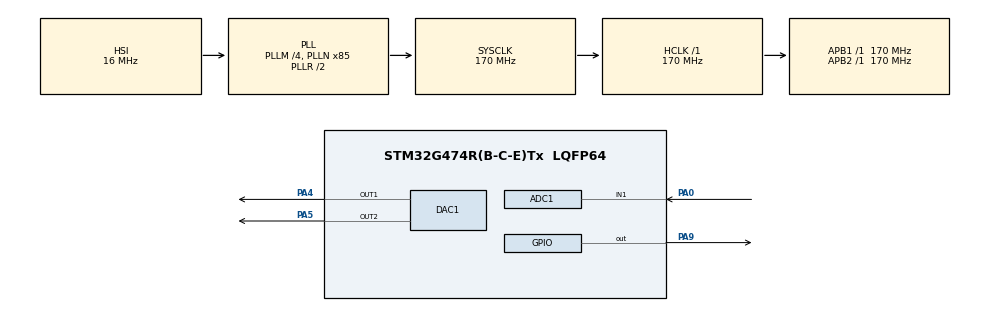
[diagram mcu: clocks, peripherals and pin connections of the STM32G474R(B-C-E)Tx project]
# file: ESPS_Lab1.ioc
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ADC1.Channel-0\#ChannelRegularConversion=ADC_CHANNEL_1
ADC1.ExternalTrigConv=ADC_EXTERNALTRIG_T6_TRGO
ADC1.NbrOfConversion=1
ADC1.NbrOfConversionFlag=1
ADC1.OffsetNumber-0\#ChannelRegularConversion=ADC_OFFSET_NONE
ADC1.Rank-0\#ChannelRegularConversion=1
ADC1.SamplingTime-0\#ChannelRegularConversion=ADC_SAMPLETIME_2CYCLES_5
ADC1.master=1
DAC1.DAC_Channel-DAC_OUT2=DAC_CHANNEL_2
Mcu.Family=STM32G4
Mcu.Name=STM32G474R(B-C-E)Tx
Mcu.Package=LQFP64
NVIC.ADC1_2_IRQn=true\:0\:0\:false\:false\:true\:true\:true\:true
NVIC.PriorityGroup=NVIC_PRIORITYGROUP_4
PA0.Mode=IN1-Single-Ended
PA0.Signal=ADC1_IN1
PA13.GPIO_Label=T_SWDIO
PA13.Signal=SYS_JTMS-SWDIO
PA14.GPIO_Label=T_SWCLK
PA14.Signal=SYS_JTCK-SWCLK
PA2.GPIO_Label=LPUART1_TX [STLINKV3E_VCP_RX]
PA2.Signal=LPUART1_TX
PA3.GPIO_Label=LPUART1_RX [STLINKV3E_VCP_TX]
PA3.Signal=LPUART1_RX
PA4.Signal=COMP_DAC11_group
PA5.Signal=COMP_DAC12_group
PA9.Signal=GPIO_Output
PB3.GPIO_Label=T_SWO
PB3.Signal=SYS_JTDO-SWO
PC14-OSC32_IN.GPIO_Label=RCC_OSC32_IN
PC14-OSC32_IN.Signal=RCC_OSC32_IN
PC15-OSC32_OUT.GPIO_Label=RCC_OSC32_OUT
PC15-OSC32_OUT.Signal=RCC_OSC32_OUT
PF0-OSC_IN.GPIO_Label=RCC_OSC_IN
PF0-OSC_IN.Signal=RCC_OSC_IN
PF1-OSC_OUT.GPIO_Label=RCC_OSC_OUT
PF1-OSC_OUT.Signal=RCC_OSC_OUT
ProjectManager.HeapSize=0x200
ProjectManager.StackSize=0x400
ProjectManager.TargetToolchain=STM32CubeIDE
RCC.ADC12Freq_Value=170000000
RCC.ADC345Freq_Value=170000000
RCC.AHBFreq_Value=170000000
RCC.APB1Freq_Value=170000000
RCC.APB1TimFreq_Value=170000000
RCC.APB2Freq_Value=170000000
RCC.APB2TimFreq_Value=170000000
RCC.CortexFreq_Value=170000000
RCC.EXTERNAL_CLOCK_VALUE=12288000
RCC.HCLKFreq_Value=170000000
RCC.HSE_VALUE=24000000
RCC.HSI48_VALUE=48000000
RCC.HSI_VALUE=16000000
RCC.LSE_VALUE=32768
RCC.PLLM=RCC_PLLM_DIV4
RCC.PLLN=85
RCC.RTCClockSelection=RCC_RTCCLKSOURCE_LSE
RCC.SYSCLKFreq_VALUE=170000000
RCC.SYSCLKSource=RCC_SYSCLKSOURCE_PLLCLK
RCC.USBFreq_Value=170000000
RCC.VCOOutputFreq_Value=340000000
SH.COMP_DAC11_group.0=DAC1_OUT1,DAC_OUT1
SH.COMP_DAC12_group.0=DAC1_OUT2,DAC_OUT2
TIM6.AutoReloadPreload=TIM_AUTORELOAD_PRELOAD_DISABLE
TIM6.PeriodNoDither=1770
TIM6.Prescaler=1
TIM6.TIM_MasterOutputTrigger=TIM_TRGO_UPDATE
VP_SYS_VS_DBSignals.Mode=DisableDeadBatterySignals
VP_TIM6_VS_ClockSourceINT.Mode=Enable_Timer
board=NUCLEO-G474RE

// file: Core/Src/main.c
/* USER CODE BEGIN Header */
/**
  ******************************************************************************
  * @file           : main.c
  * @brief          : Main program body
  ******************************************************************************
  * @attention
  *
  * Copyright (c) 2026 STMicroelectronics.
  * All rights reserved.
  *
  * This software is licensed under terms that can be found in the LICENSE file
  * in the root directory of this software component.
  * If no LICENSE file comes with this software, it is provided AS-IS.
  *
  ******************************************************************************
  */
/* USER CODE END Header */
#include "main.h"
#include "adc.h"
#include "dac.h"
#include "tim.h"
#include "gpio.h"

/* USER CODE BEGIN PM */
#define MAF_TAPS 4
/* USER CODE END PM */

void SystemClock_Config(void);

int main(void)
{

  /* MCU Configuration--------------------------------------------------------*/

  /* Reset of all peripherals, Initializes the Flash interface and the Systick. */
  HAL_Init();

  /* Configure the system clock */
  SystemClock_Config();

  /* Initialize all configured peripherals */
  MX_GPIO_Init();
  MX_ADC1_Init();
  MX_DAC1_Init();
  MX_TIM6_Init();
  /* USER CODE BEGIN 2 */

  HAL_TIM_Base_Start(&htim6);
  HAL_DAC_Start(&hdac1, DAC_CHANNEL_1);
  HAL_DAC_Start(&hdac1, DAC_CHANNEL_2);
  HAL_ADC_Start_IT(&hadc1);

  /* USER CODE END 2 */

  /* Infinite loop */
  while (1)
  {

  }
}

/* USER CODE BEGIN 4 */

/* Task 1 - Pass-Through Test
 * (hadc->Instance == ADC1) - compares the hardware register base address of the ADC peripheral.
 * (hadc == &hadc1) - compares the handle pointer.
 * */
/*

void HAL_ADC_ConvCpltCallback(ADC_HandleTypeDef *hadc)
{
  if (hadc->Instance == ADC1)
  {
    uint32_t adc_val = HAL_ADC_GetValue(hadc);	// 12-bit ADC sample: 0..4095
    HAL_DAC_SetValue(&hdac1, DAC_CHANNEL_1, DAC_ALIGN_12B_R, adc_val);
  }
}
*/

/* Task 2 - MAF Implementation */
/*volatile static uint32_t x = 0;
volatile static uint32_t y = 0;
volatile static float x_norm = 0.0f;
volatile static float y_norm = 0.0f;
volatile static float buff[MAF_TAPS] = {0.0f};
volatile static uint8_t idx = 0;

void HAL_ADC_ConvCpltCallback(ADC_HandleTypeDef *hadc)
{
	if(hadc->Instance == ADC1)
	{

	x = HAL_ADC_GetValue(&hadc1);

	x_norm = ( (x * 3.3f / 4095.0f) -1.0f ) / 0.9f;

	buff[idx] = x_norm;

	idx = (idx +1) % MAF_TAPS;

	float sum = 0.0f;

	for (uint8_t i= 0; i < MAF_TAPS; i++)
	{
	   sum = sum + buff[i];
	}

	y_norm = sum / MAF_TAPS;

	y= (uint32_t) ( ( y_norm * 0.9f + 1.0f ) * 4095.0f / 3.3f );

	HAL_DAC_SetValue(&hdac1, DAC_CHANNEL_1, DAC_ALIGN_12B_R, x);
    HAL_DAC_SetValue(&hdac1, DAC_CHANNEL_2, DAC_ALIGN_12B_R, y);

	}
}*/

/* Filter Constants */
#define TAPS 4
float buffer[TAPS] = {0.0f};
int buffer_index = 0;

/* Normalization Constants */
const float V_REF = 3.3f;
const float ADC_MAX = 4095.0f;
const float OFFSET = 1.0f;
const float AMPLITUDE = 0.9f;

void HAL_ADC_ConvCpltCallback(ADC_HandleTypeDef* hadc) {
    // 1. Read Raw ADC Value
    uint32_t adc_raw = HAL_ADC_GetValue(hadc);

    // 2. Convert to Voltage (Standard Mapping Step 1)
    float v_in = ((float)adc_raw / ADC_MAX) * V_REF;

    // 3. Normalize to [-1, 1] (Standard Mapping Step 2)
    // (Value - Center) / Swing
    float xn = (v_in - OFFSET) / AMPLITUDE;

    // 4. 4-Tap Moving Average Filter
    buffer[buffer_index] = xn;
    buffer_index = (buffer_index + 1) % TAPS;

    float yn = 0.0f;
    for (int i = 0; i < TAPS; i++) {
        yn += buffer[i];
    }
    yn /= (float)TAPS;

    // 5. De-normalize for DAC (Standard Mapping Step 3)
    // (Math * Swing) + Center -> then convert to bits
    float v_out = (yn * AMPLITUDE) + OFFSET;
    uint32_t dac_val = (uint32_t)((v_out / V_REF) * ADC_MAX);

    // 6. Output to DAC Channels
    // Channel 2: Filtered Output, Channel 1: Original Input
    HAL_DAC_SetValue(&hdac1, DAC_CHANNEL_2, DAC_ALIGN_12B_R, dac_val);
    HAL_DAC_SetValue(&hdac1, DAC_CHANNEL_1, DAC_ALIGN_12B_R, adc_raw);
}

/* USER CODE END 4 */

void SystemClock_Config(void)
{
  RCC_OscInitTypeDef RCC_OscInitStruct = {0};
  RCC_ClkInitTypeDef RCC_ClkInitStruct = {0};

  /** Configure the main internal regulator output voltage
  */
  HAL_PWREx_ControlVoltageScaling(PWR_REGULATOR_VOLTAGE_SCALE1_BOOST);

  /** Initializes the RCC Oscillators according to the specified parameters
  * in the RCC_OscInitTypeDef structure.
  */
  RCC_OscInitStruct.OscillatorType = RCC_OSCILLATORTYPE_HSI;
  RCC_OscInitStruct.HSIState = RCC_HSI_ON;
  RCC_OscInitStruct.HSICalibrationValue = RCC_HSICALIBRATION_DEFAULT;
  RCC_OscInitStruct.PLL.PLLState = RCC_PLL_ON;
  RCC_OscInitStruct.PLL.PLLSource = RCC_PLLSOURCE_HSI;
  RCC_OscInitStruct.PLL.PLLM = RCC_PLLM_DIV4;
  RCC_OscInitStruct.PLL.PLLN = 85;
  RCC_OscInitStruct.PLL.PLLP = RCC_PLLP_DIV2;
  RCC_OscInitStruct.PLL.PLLQ = RCC_PLLQ_DIV2;
  RCC_OscInitStruct.PLL.PLLR = RCC_PLLR_DIV2;
  if (HAL_RCC_OscConfig(&RCC_OscInitStruct) != HAL_OK)
  {
    Error_Handler();
  }

  /** Initializes the CPU, AHB and APB buses clocks
  */
  RCC_ClkInitStruct.ClockType = RCC_CLOCKTYPE_HCLK|RCC_CLOCKTYPE_SYSCLK
                              |RCC_CLOCKTYPE_PCLK1|RCC_CLOCKTYPE_PCLK2;
  RCC_ClkInitStruct.SYSCLKSource = RCC_SYSCLKSOURCE_PLLCLK;
  RCC_ClkInitStruct.AHBCLKDivider = RCC_SYSCLK_DIV1;
  RCC_ClkInitStruct.APB1CLKDivider = RCC_HCLK_DIV1;
  RCC_ClkInitStruct.APB2CLKDivider = RCC_HCLK_DIV1;

  if (HAL_RCC_ClockConfig(&RCC_ClkInitStruct, FLASH_LATENCY_4) != HAL_OK)
  {
    Error_Handler();
  }
}

void Error_Handler(void)
{
  __disable_irq();
  while (1)
  {
  }
}
